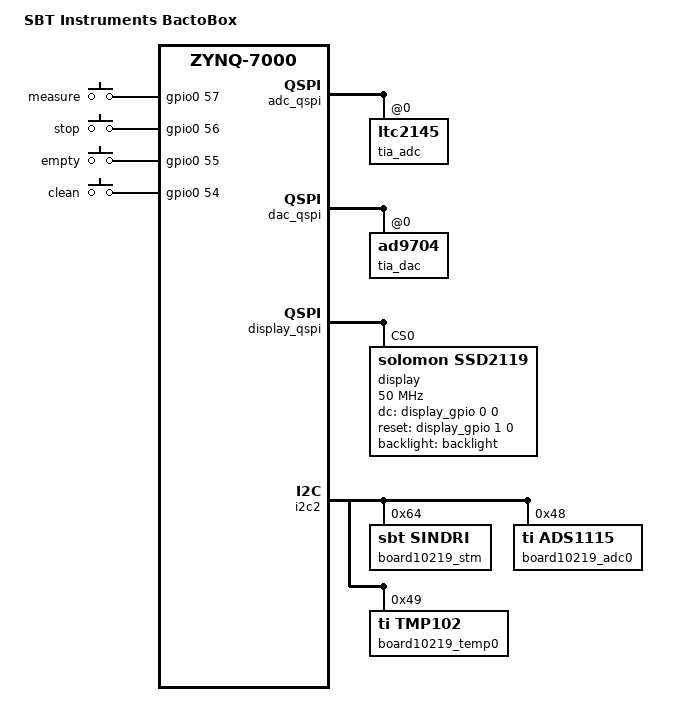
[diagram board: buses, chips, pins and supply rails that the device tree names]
/* SPDX-License-Identifier: GPL-2.0-or-later */
/*
 *	Copyright (C) 2019 Frederik Peter Aalund <fpa@sbtinstruments.com>
 */
/dts-v1/;
#include "zynq-green-mango.dtsi"

/ {
	model = "SBT Instruments BactoBox";
	compatible = "sbt,green-mango-bactobox",
	             "sbt,green-mango",
	             "xlnx,zynq-7000";
};

&amba {
	adc_qspi: axi_quad_spi@41e10000 {
		tia_adc: ltc2145@0 {
			// test-pattern = "all-zero";
			clock-phase-delay = <45>;
			invert-clock;
			output-mode = "ddr-lvds";
		};
	};

	dac_qspi: axi_quad_spi@41e00000 {
		tia_dac: ad9704@0 {
			// deskew-mode;
			diff-clock-input;
		};
	};

	display_gpio: gpio@41210000 {
		#gpio-cells = <3>;
		clock-names = "s_axi_aclk";
		clocks = <&clkc 15>;
		compatible = "xlnx,axi-gpio-2.0", "xlnx,xps-gpio-1.00.a";
		gpio-controller;
		reg = <0x41210000 0x10000>;
		xlnx,all-inputs = <0x0>;
		xlnx,all-inputs-2 = <0x0>;
		xlnx,all-outputs = <0x0>;
		xlnx,all-outputs-2 = <0x0>;
		/* All lines are low per default except for the display's
		 * reset line. This way, the display won't reset when Linux
		 * boots. In turn, this allows the splash screen (set in
		 * U-boot) to linger.
		 *
		 * 0x2 = <&display_gpio 1 0>
		 */
		xlnx,dout-default = <0x00000002>;
		xlnx,dout-default-2 = <0x00000000>;
		xlnx,gpio-width = <0x2>;
		xlnx,gpio2-width = <0x20>;
		xlnx,interrupt-present = <0x0>;
		xlnx,is-dual = <0x0>;
		xlnx,tri-default = <0xFFFFFFFF>;
		xlnx,tri-default-2 = <0xFFFFFFFF>;
	};

	display_qspi: axi_quad_spi@41e20000 {
		#address-cells = <1>;
		#size-cells = <0>;
		bits-per-word = <8>;
		clock-names = "spi_clk", "axi_clk";
		clocks = <&clkc 15>, <&clkc 15>;
		compatible = "xlnx,axi-quad-spi-3.2", "xlnx,xps-spi-2.00.a";
		fifo-size = <16>;
		interrupt-names = "ip2intc_irpt";
		interrupt-parent = <&intc>;
		interrupts = <0 52 1>;
		num-cs = <0x1>;
		reg = <0x41e20000 0x10000>;
		xlnx,num-ss-bits = <0x1>;
		xlnx,spi-mode = <0>;

		display: 8252md-t@0 {
			compatible = "solomon,ssd2119";
			reg = <0>;
			spi-max-frequency = <50000000>;
			buswidth = <8>;
			dc-gpios = <&display_gpio 0 0 GPIO_ACTIVE_HIGH>;
			reset-gpios = <&display_gpio 1 0 GPIO_ACTIVE_HIGH>;
			rotate = <0>;
			backlight = <&backlight>;
			linux,skip-reset;
			linux,skip-clear;
		};
	};

	i2c2: i2c@41600000 {
		board10219_stm: mega328P@64 {
			compatible = "sbt,sindri";
			reg = <0x64>;
			interrupt-names = "sindri-interrupt";
			interrupt-parent = <&intc>;
			interrupts = <0 53 IRQ_TYPE_EDGE_RISING>;
		};

		board10219_adc0: ads1115@48 {
			compatible = "ti,ads1115";
			reg = <0x48>;
			#address-cells = <1>;
			#size-cells = <0>;

			diff0: channel@0 {
				reg = <0>; // Voltage over AIN0 and AIN1
				ti,gain = <0>; // +/- 6.144 V
				ti,datarate = <4>; // 1600 samples per second
			};
		};

		board10219_temp0: tmp102@49 {
			compatible = "ti,tmp102";
			reg = <0x49>;
		};
	};

	gpio-keys {
		compatible = "gpio-keys";
		measure {
			label = "measure";
			gpios = <&gpio0 57 GPIO_ACTIVE_HIGH>;
			linux,code = <50>; // m
		};
		stop {
			label = "stop";
			gpios = <&gpio0 56 GPIO_ACTIVE_HIGH>;
			linux,code = <1>; // escape
		};
		empty {
			label = "empty";
			gpios = <&gpio0 55 GPIO_ACTIVE_HIGH>;
			linux,code = <18>; // e
		};
		clean {
			label = "clean";
			gpios = <&gpio0 54 GPIO_ACTIVE_HIGH>;
			linux,code = <46>; // c
		};
	};
};
